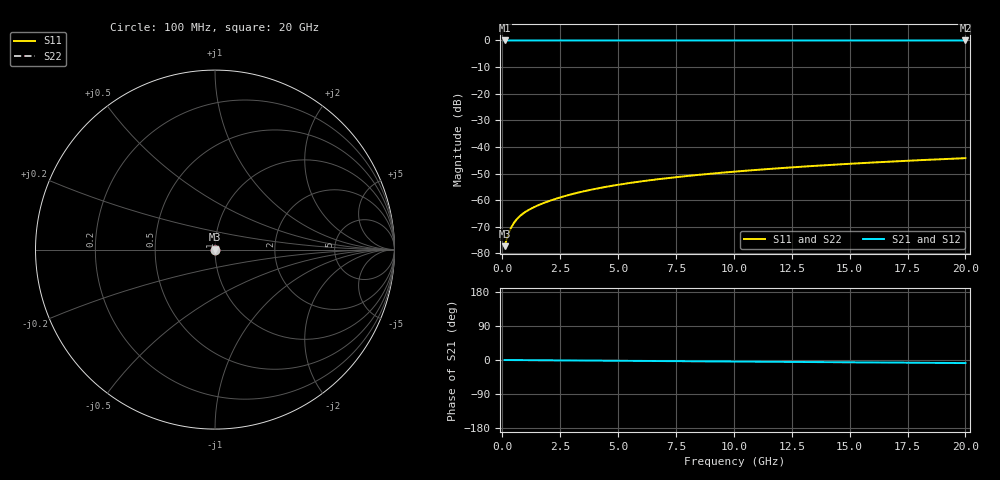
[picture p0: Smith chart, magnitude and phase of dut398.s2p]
! Touchstone file exported from HFSS 2026.1.0
!  File:  C:/ffzhzh/LocalFiles/Ansys_Project_Files/temp_train_TSV_398_1783020243_51716.aedt
!  Generated:  03:25:44 AM Jul  3, 2026
!  Design:  TSV
!  Project:  temp_train_TSV_398_1783020243_51716
! Variables:
!  h_bsmrdl = 2um
!  h_ox = 20um
!  h_rdl = 5um
!  h_sub = 80.72um
!  h_tmrdl = 5um
!  h_tsv = 80.72um
!  h_via = 3um
!  l_bsmrdl = 300um
!  l_sub = 421.42um
!  l_tmrdl = 200um
!  m_sub = 200um
!  pitch = 45.17um
!  r_tsv = 10.71um
!  s_tmrdl = 10um
!  w_bsmrdl = 18um
!  w_sub = 500um
!  w_tmrdl = 12um
!  x_tsv_center1 = 206um
!  x_tsv_center2 = 524um
!  x_tsv_center3 = 736um
!  x_tsv_center4 = 1054um
!  x_tsv_center5 = 1266um
!  x_tsv_center6 = 1584um
# GHz S MA R 50.000000
! Terminal data exported
! Port[1] = TSV1_1_T1
! Port[2] = TSV1_1_T2
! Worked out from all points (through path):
!   200 points, 100 MHz to 20 GHz, reference 50 ohm
!   highest |S21| = 0.00 dB at 100 MHz (marker M1); lowest = 0.0 dB at 20 GHz (marker M2)
!   group delay of S21, straight-line fit = 1.12 ps
!   lowest |S11| = -77.3 dB at 100 MHz (marker M3), VSWR 1.00, Z = 50 + j0.00728 ohm
!   |S11| at or under -10 dB: start of sweep to end of sweep
!   |S22| runs from -77.3 to -44.2 dB; largest |S21 - S12| = 3e-15
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0.1  0.0001367 32.2  0.9999 -0.0  0.9999 -0.0  0.0001367 32.2
! Gamma 0 0 0 0
! Port Impedance 50 0 50 0
0.2  0.0001916 48.1  0.9999 -0.1  0.9999 -0.1  0.0001916 48.1
0.3  0.0002538 54.8  0.9999 -0.1  0.9999 -0.1  0.0002538 54.8
0.4  0.000315 57.7  0.9998 -0.2  0.9998 -0.2  0.000315 57.7
0.5  0.0003725 59.0  0.9998 -0.2  0.9998 -0.2  0.0003725 59.0
0.6  0.0004255 59.6  0.9998 -0.3  0.9998 -0.3  0.0004255 59.6
0.7  0.0004743 59.9  0.9998 -0.3  0.9998 -0.3  0.0004743 59.9
0.9  0.0005621 60.3  0.9997 -0.4  0.9997 -0.4  0.0005621 60.3
1.1  0.0006407 60.9  0.9997 -0.5  0.9997 -0.5  0.0006407 60.9
1.3  0.0007142 61.6  0.9997 -0.5  0.9997 -0.5  0.0007142 61.6
1.6  0.0008196 62.8  0.9996 -0.7  0.9996 -0.7  0.0008196 62.8
1.9  0.0009226 64.0  0.9996 -0.8  0.9996 -0.8  0.0009226 64.0
2.6  0.00116 66.2  0.9995 -1.1  0.9995 -1.1  0.00116 66.2
3.5  0.001461 68.0  0.9995 -1.4  0.9995 -1.4  0.001461 68.0
4.2  0.00169 68.9  0.9994 -1.7  0.9994 -1.7  0.00169 68.9
5  0.001944 69.5  0.9994 -2.0  0.9994 -2.0  0.001944 69.5
6.8  0.002495 70.4  0.9993 -2.8  0.9993 -2.8  0.002495 70.4
8.3  0.002936 70.8  0.9992 -3.4  0.9992 -3.4  0.002936 70.8
10.1  0.003454 71.1  0.9991 -4.1  0.9991 -4.1  0.003454 71.1
13.4  0.004381 71.3  0.999 -5.4  0.999 -5.4  0.004381 71.3
16.7  0.005282 70.9  0.9989 -6.8  0.9989 -6.8  0.005282 70.9
20  0.006153 70.3  0.9987 -8.1  0.9987 -8.1  0.006153 70.3
